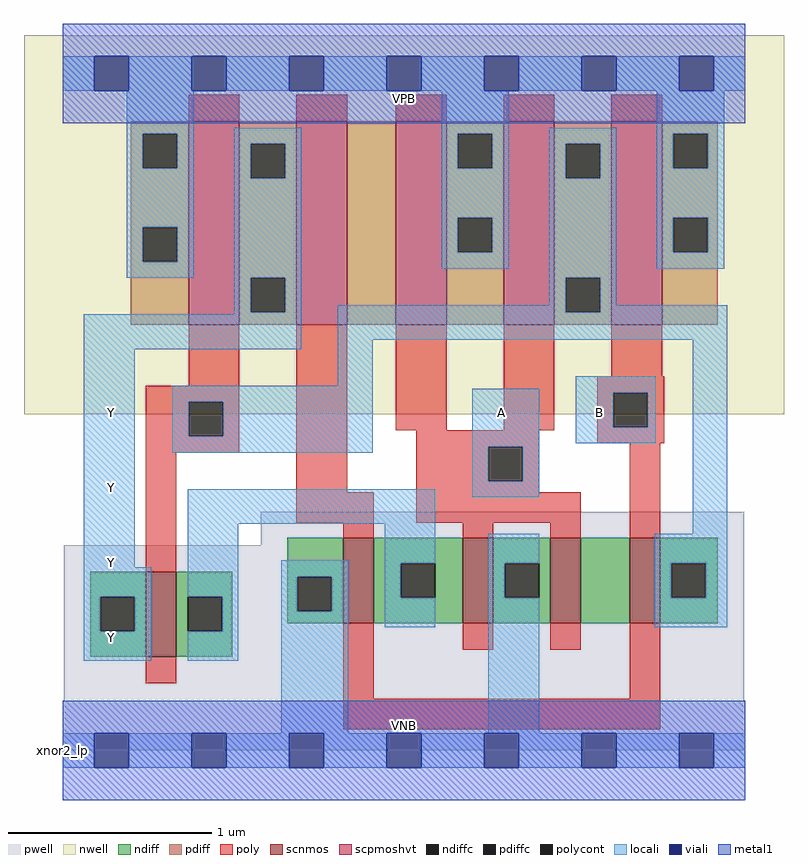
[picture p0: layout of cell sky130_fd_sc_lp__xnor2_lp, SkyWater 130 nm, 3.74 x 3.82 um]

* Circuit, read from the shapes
.subckt sky130_fd_sc_lp__xnor2_lp A B VGND VNB VPB VPWR Y
XM1 n1 n2 Y VNB sky130_fd_pr__nfet_01v8 w=0.42 l=0.15
XM2 n1 B VGND VNB sky130_fd_pr__nfet_01v8 w=0.42 l=0.15
XM3 VGND A n1 VNB sky130_fd_pr__nfet_01v8 w=0.42 l=0.15
XM4 n3 A VGND VNB sky130_fd_pr__nfet_01v8 w=0.42 l=0.15
XM5 n2 B n3 VNB sky130_fd_pr__nfet_01v8 w=0.42 l=0.15
XM6 Y n2 VPWR VPB sky130_fd_pr__pfet_01v8_hvt w=1 l=0.25
XM7 n4 B Y VPB sky130_fd_pr__pfet_01v8_hvt w=1 l=0.25
XM8 VPWR A n4 VPB sky130_fd_pr__pfet_01v8_hvt w=1 l=0.25
XM9 n2 A VPWR VPB sky130_fd_pr__pfet_01v8_hvt w=1 l=0.25
XM10 VPWR B n2 VPB sky130_fd_pr__pfet_01v8_hvt w=1 l=0.25
.ends

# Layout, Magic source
magic
tech sky130A
magscale 1 2
<< nwell >>
rect -38 331 710 704
<< pwell >>
rect 195 202 671 235
rect 1 49 671 202
rect 0 0 672 49
<< scnmos >>
rect 82 92 112 176
rect 276 125 306 209
rect 394 125 424 209
rect 480 125 510 209
rect 558 125 588 209
<< scpmoshvt >>
rect 124 419 174 619
rect 230 419 280 619
rect 328 419 378 619
rect 434 419 484 619
rect 540 419 590 619
<< ndiff >>
rect 27 151 82 176
rect 27 117 37 151
rect 71 117 82 151
rect 27 92 82 117
rect 112 151 167 176
rect 112 117 123 151
rect 157 117 167 151
rect 221 171 276 209
rect 221 137 231 171
rect 265 137 276 171
rect 221 125 276 137
rect 306 184 394 209
rect 306 150 333 184
rect 367 150 394 184
rect 306 125 394 150
rect 424 184 480 209
rect 424 150 435 184
rect 469 150 480 184
rect 424 125 480 150
rect 510 125 558 209
rect 588 184 645 209
rect 588 150 599 184
rect 633 150 645 184
rect 588 125 645 150
rect 112 92 167 117
<< pdiff >>
rect 67 607 124 619
rect 67 573 79 607
rect 113 573 124 607
rect 67 515 124 573
rect 67 481 79 515
rect 113 481 124 515
rect 67 419 124 481
rect 174 597 230 619
rect 174 563 185 597
rect 219 563 230 597
rect 174 465 230 563
rect 174 431 185 465
rect 219 431 230 465
rect 174 419 230 431
rect 280 419 328 619
rect 378 607 434 619
rect 378 573 389 607
rect 423 573 434 607
rect 378 524 434 573
rect 378 490 389 524
rect 423 490 434 524
rect 378 419 434 490
rect 484 597 540 619
rect 484 563 495 597
rect 529 563 540 597
rect 484 465 540 563
rect 484 431 495 465
rect 529 431 540 465
rect 484 419 540 431
rect 590 607 645 619
rect 590 573 601 607
rect 635 573 645 607
rect 590 524 645 573
rect 590 490 601 524
rect 635 490 645 524
rect 590 419 645 490
<< ndiffc >>
rect 37 117 71 151
rect 123 117 157 151
rect 231 137 265 171
rect 333 150 367 184
rect 435 150 469 184
rect 599 150 633 184
<< pdiffc >>
rect 79 573 113 607
rect 79 481 113 515
rect 185 563 219 597
rect 185 431 219 465
rect 389 573 423 607
rect 389 490 423 524
rect 495 563 529 597
rect 495 431 529 465
rect 601 573 635 607
rect 601 490 635 524
<< poly >>
rect 124 619 174 645
rect 230 619 280 645
rect 328 619 378 645
rect 434 619 484 645
rect 540 619 590 645
rect 124 359 174 419
rect 82 343 174 359
rect 82 309 124 343
rect 158 309 174 343
rect 82 293 174 309
rect 82 176 112 293
rect 230 254 280 419
rect 328 315 378 419
rect 434 315 484 419
rect 540 368 590 419
rect 526 352 592 368
rect 526 318 542 352
rect 576 318 592 352
rect 348 299 469 315
rect 526 302 592 318
rect 348 265 419 299
rect 453 265 469 299
rect 348 254 469 265
rect 230 224 306 254
rect 348 224 510 254
rect 276 209 306 224
rect 394 209 424 224
rect 480 209 510 224
rect 558 209 588 302
rect 82 66 112 92
rect 276 51 306 125
rect 394 99 424 125
rect 480 99 510 125
rect 558 51 588 125
rect 276 21 588 51
<< polycont >>
rect 124 309 158 343
rect 542 318 576 352
rect 419 265 453 299
<< locali >>
rect 0 649 31 683
rect 65 649 127 683
rect 161 649 223 683
rect 257 649 319 683
rect 353 649 415 683
rect 449 649 511 683
rect 545 649 607 683
rect 641 649 672 683
rect 63 607 129 649
rect 63 573 79 607
rect 113 573 129 607
rect 63 515 129 573
rect 63 481 79 515
rect 113 481 129 515
rect 63 465 129 481
rect 169 597 235 613
rect 169 563 185 597
rect 219 563 235 597
rect 169 465 235 563
rect 373 607 439 649
rect 373 573 389 607
rect 423 573 439 607
rect 373 524 439 573
rect 373 490 389 524
rect 423 490 439 524
rect 373 474 439 490
rect 479 597 545 613
rect 479 563 495 597
rect 529 563 545 597
rect 169 431 185 465
rect 219 431 235 465
rect 479 465 545 563
rect 585 607 651 649
rect 585 573 601 607
rect 635 573 651 607
rect 585 524 651 573
rect 585 490 601 524
rect 635 490 651 524
rect 585 474 651 490
rect 479 438 495 465
rect 169 429 235 431
rect 21 395 235 429
rect 271 431 495 438
rect 529 438 545 465
rect 529 431 654 438
rect 271 404 654 431
rect 21 180 71 395
rect 271 359 305 404
rect 108 343 305 359
rect 108 309 124 343
rect 158 309 305 343
rect 108 293 305 309
rect 403 299 469 356
rect 505 352 584 368
rect 505 318 542 352
rect 576 318 584 352
rect 505 302 584 318
rect 403 265 419 299
rect 453 265 469 299
rect 123 223 367 257
rect 403 249 469 265
rect 21 151 87 180
rect 21 117 37 151
rect 71 117 87 151
rect 21 88 87 117
rect 123 151 173 223
rect 157 117 173 151
rect 123 88 173 117
rect 215 171 281 187
rect 215 137 231 171
rect 265 137 281 171
rect 215 17 281 137
rect 317 184 367 223
rect 620 213 654 404
rect 317 150 333 184
rect 317 121 367 150
rect 419 184 469 213
rect 419 150 435 184
rect 419 17 469 150
rect 583 184 654 213
rect 583 150 599 184
rect 633 150 654 184
rect 583 121 654 150
rect 0 -17 31 17
rect 65 -17 127 17
rect 161 -17 223 17
rect 257 -17 319 17
rect 353 -17 415 17
rect 449 -17 511 17
rect 545 -17 607 17
rect 641 -17 672 17
<< viali >>
rect 31 649 65 683
rect 127 649 161 683
rect 223 649 257 683
rect 319 649 353 683
rect 415 649 449 683
rect 511 649 545 683
rect 607 649 641 683
rect 31 -17 65 17
rect 127 -17 161 17
rect 223 -17 257 17
rect 319 -17 353 17
rect 415 -17 449 17
rect 511 -17 545 17
rect 607 -17 641 17
<< metal1 >>
rect 0 683 672 715
rect 0 649 31 683
rect 65 649 127 683
rect 161 649 223 683
rect 257 649 319 683
rect 353 649 415 683
rect 449 649 511 683
rect 545 649 607 683
rect 641 649 672 683
rect 0 617 672 649
rect 0 17 672 49
rect 0 -17 31 17
rect 65 -17 127 17
rect 161 -17 223 17
rect 257 -17 319 17
rect 353 -17 415 17
rect 449 -17 511 17
rect 545 -17 607 17
rect 641 -17 672 17
rect 0 -49 672 -17
<< labels >>
flabel pwell s 0 0 672 49 0 FreeSans 200 0 0 0 VNB
port 4 nsew ground bidirectional
flabel nwell s 0 617 672 666 0 FreeSans 200 0 0 0 VPB
port 5 nsew power bidirectional
rlabel comment s 0 0 0 0 4 xnor2_lp
flabel metal1 s 0 617 672 666 0 FreeSans 340 0 0 0 VPWR
port 6 nsew power bidirectional
flabel metal1 s 0 0 672 49 0 FreeSans 340 0 0 0 VGND
port 3 nsew ground bidirectional
flabel locali s 415 316 449 350 0 FreeSans 340 0 0 0 A
port 1 nsew signal input
flabel locali s 511 316 545 350 0 FreeSans 340 0 0 0 B
port 2 nsew signal input
flabel locali s 31 94 65 128 0 FreeSans 340 0 0 0 Y
port 7 nsew signal output
flabel locali s 31 168 65 202 0 FreeSans 340 0 0 0 Y
port 7 nsew signal output
flabel locali s 31 242 65 276 0 FreeSans 340 0 0 0 Y
port 7 nsew signal output
flabel locali s 31 316 65 350 0 FreeSans 340 0 0 0 Y
port 7 nsew signal output
<< properties >>
string LEFsite unit
string LEFclass CORE
string FIXED_BBOX 0 0 672 666
string GDS_FILE $PDKPATH/libs.ref/sky130_fd_sc_lp/gds/sky130_fd_sc_lp.gds
string LEFsymmetry X Y R90
string GDS_END 4270858
string GDS_START 4265224
<< end >>
